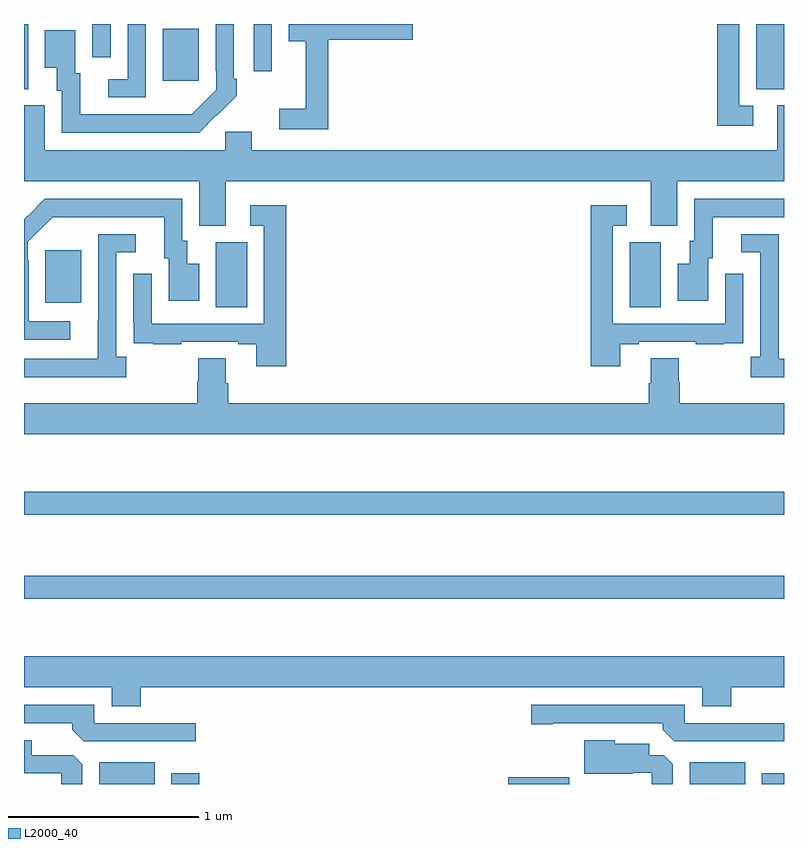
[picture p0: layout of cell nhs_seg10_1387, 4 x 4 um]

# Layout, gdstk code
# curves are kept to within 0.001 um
import gdstk
lib = gdstk.Library(unit=1e-6, precision=1e-09)
def R(c, l, rs):  # rectangles x0, y0, x1, y1
    for r in rs: c.add(gdstk.rectangle(r[:2], r[2:], *l))
def P(c, l, *ps):  # polygons
    for p in ps: c.add(gdstk.Polygon(p, *l))
L2000_40 = (2000, 40)

nhs_seg10_1387 = lib.new_cell('nhs_seg10_1387')
R(nhs_seg10_1387, L2000_40, [(183.395,1274.5,183.688,1274.614), (183.776,1274.5,183.923,1274.557), (185.549,1274.5,185.869,1274.536), (186.503,1274.5,186.796,1274.614), (186.884,1274.5,187,1274.557), (183,1275.474,187,1275.595), (183,1275.918,187,1276.039), (184.01,1277.008,184.174,1277.352), (186.188,1277.008,186.352,1277.352), (183.113,1277.033,183.301,1277.308), (183,1278.157,183.022,1278.5), (186.854,1278.157,187,1278.5), (183.731,1278.201,183.919,1278.475), (184.209,1278.252,184.305,1278.5), (183.36,1278.324,183.456,1278.5)])
P(nhs_seg10_1387, L2000_40, [(183.642,1278.5),(183.546,1278.5),(183.546,1278.21),(183.444,1278.21),(183.444,1278.114),(183.642,1278.114)],
  [(184.601,1278.416),(185.047,1278.416),(185.047,1278.5),(184.394,1278.5),(184.394,1278.41),(184.484,1278.41),(184.484,1278.055),(184.344,1278.055),(184.344,1277.946),(184.601,1277.946)],
  [(186.838,1278.069),(186.765,1278.069),(186.765,1278.5),(186.649,1278.5),(186.649,1277.964),(186.838,1277.964)],
  [(184.013,1278.019),(184.014,1278.018),(184.119,1278.123),(184.119,1278.211),(184.104,1278.211),(184.104,1278.5),(184.008,1278.5),(184.008,1278.253),(184.011,1278.253),(184.011,1278.153),(183.883,1278.025),(183.295,1278.024),(183.295,1278.24),(183.271,1278.24),(183.271,1278.466),(183.11,1278.466),(183.11,1278.269),(183.173,1278.269),(183.173,1278.15),(183.198,1278.15),(183.198,1277.928),(183.922,1277.928)],
  [(184.063,1277.672),(186.299,1277.672),(186.299,1277.437),(186.439,1277.437),(186.439,1277.672),(187,1277.672),(187,1278.072),(186.965,1278.072),(186.965,1277.836),(184.198,1277.836),(184.198,1277.934),(184.059,1277.934),(184.059,1277.836),(183.109,1277.836),(183.109,1278.072),(183,1278.072),(183,1277.672),(183.923,1277.672),(183.923,1277.437),(184.063,1277.437)],
  [(183.244,1276.935),(183.024,1276.935),(183.024,1277.255),(183.021,1277.255),(183.021,1277.355),(183.15,1277.484),(183.737,1277.484),(183.737,1277.268),(183.761,1277.268),(183.761,1277.043),(183.922,1277.043),(183.922,1277.239),(183.859,1277.239),(183.859,1277.358),(183.834,1277.358),(183.834,1277.58),(183.11,1277.58),(183.019,1277.489),(183.018,1277.49),(183,1277.472),(183,1276.839),(183.244,1276.839)],
  [(186.601,1277.268),(186.625,1277.268),(186.625,1277.484),(187,1277.484),(187,1277.58),(186.528,1277.58),(186.528,1277.358),(186.503,1277.358),(186.503,1277.239),(186.44,1277.239),(186.44,1277.043),(186.601,1277.043)],
  [(184.379,1277.545),(184.191,1277.545),(184.191,1277.439),(184.263,1277.439),(184.263,1276.923),(183.672,1276.923),(183.672,1277.185),(183.576,1277.185),(183.576,1276.93),(183.577,1276.93),(183.577,1276.821),(183.679,1276.821),(183.679,1276.815),(183.827,1276.815),(183.827,1276.827),(184.127,1276.827),(184.127,1276.815),(184.223,1276.815),(184.223,1276.698),(184.379,1276.698)],
  [(186.139,1276.815),(186.235,1276.815),(186.235,1276.827),(186.535,1276.827),(186.535,1276.815),(186.683,1276.815),(186.683,1276.821),(186.785,1276.821),(186.785,1276.93),(186.786,1276.93),(186.786,1277.185),(186.69,1277.185),(186.69,1276.923),(186.099,1276.923),(186.099,1277.439),(186.172,1277.439),(186.172,1277.545),(185.983,1277.545),(185.983,1276.698),(186.139,1276.698)],
  [(187,1276.737),(186.972,1276.737),(186.972,1277.394),(186.774,1277.394),(186.774,1277.298),(186.876,1277.298),(186.876,1276.75),(186.825,1276.75),(186.825,1276.64),(187,1276.64)],
  [(183.538,1276.75),(183.486,1276.75),(183.486,1277.298),(183.589,1277.298),(183.589,1277.394),(183.39,1277.394),(183.39,1276.937),(183.389,1276.937),(183.389,1276.737),(183,1276.737),(183,1276.64),(183.538,1276.64)],
  [(187,1276.504),(186.452,1276.504),(186.452,1276.617),(186.447,1276.617),(186.447,1276.742),(186.299,1276.742),(186.299,1276.61),(186.287,1276.61),(186.287,1276.504),(184.076,1276.504),(184.076,1276.61),(184.063,1276.61),(184.063,1276.742),(183.916,1276.742),(183.916,1276.617),(183.911,1276.617),(183.911,1276.504),(183,1276.504),(183,1276.34),(187,1276.34)],
  [(183.614,1275.008),(186.569,1275.008),(186.569,1274.909),(186.722,1274.909),(186.722,1275.008),(187,1275.008),(187,1275.172),(183,1275.172),(183,1275.008),(183.461,1275.008),(183.461,1274.909),(183.614,1274.909)],
  [(183.904,1274.82),(183.369,1274.82),(183.369,1274.916),(183,1274.916),(183,1274.82),(183.254,1274.82),(183.254,1274.786),(183.315,1274.724),(183.904,1274.724)],
  [(187,1274.82),(186.477,1274.82),(186.477,1274.916),(185.67,1274.916),(185.67,1274.815),(185.782,1274.815),(185.782,1274.82),(186.362,1274.82),(186.362,1274.786),(186.423,1274.724),(187,1274.724)],
  [(186.415,1274.603),(186.366,1274.652),(186.292,1274.652),(186.292,1274.713),(186.108,1274.713),(186.108,1274.731),(185.948,1274.731),(185.948,1274.555),(186.203,1274.555),(186.203,1274.559),(186.303,1274.559),(186.303,1274.5),(186.415,1274.5)],
  [(183.307,1274.603),(183.258,1274.652),(183.04,1274.652),(183.04,1274.731),(183,1274.731),(183,1274.556),(183.195,1274.556),(183.195,1274.5),(183.307,1274.5)])

lib.write_gds('nhs_seg10_1387.gds')
